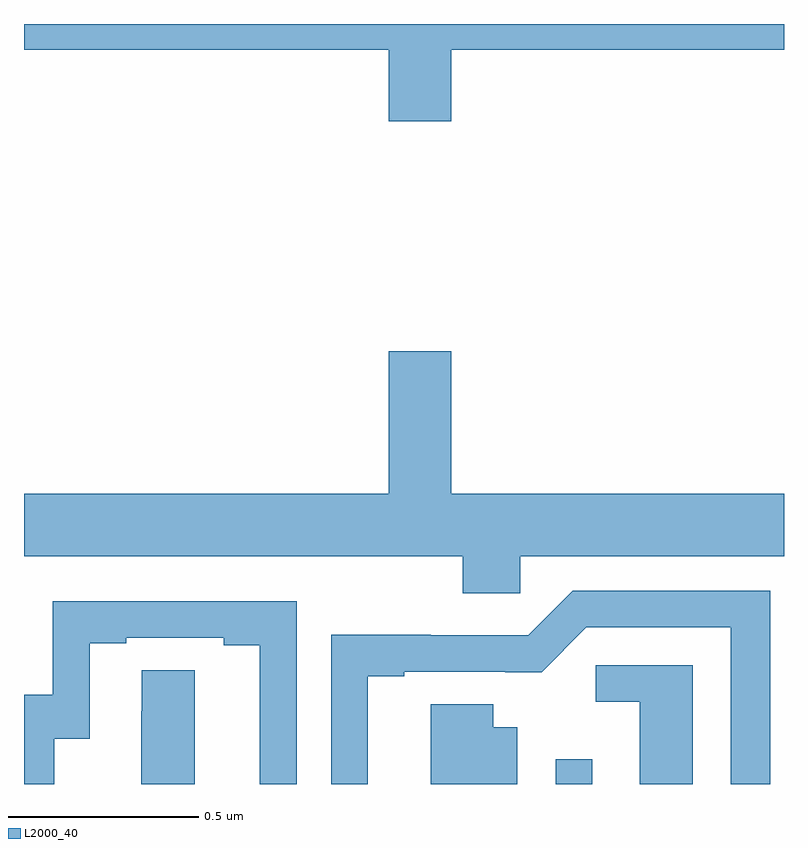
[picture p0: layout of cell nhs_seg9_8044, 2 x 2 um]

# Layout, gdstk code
import gdstk
lib = gdstk.Library(unit=1e-6, precision=1e-09)
def R(c, l, rs):  # rectangles x0, y0, x1, y1
    for r in rs: c.add(gdstk.rectangle(r[:2], r[2:], *l))
def P(c, l, *ps):  # polygons
    for p in ps: c.add(gdstk.Polygon(p, *l))
L2000_40 = (2000, 40)

nhs_seg9_8044 = lib.new_cell('nhs_seg9_8044')
R(nhs_seg9_8044, L2000_40, [(213.399,1182.5,213.495,1182.565)])
P(nhs_seg9_8044, L2000_40, [(213.124,1184.432),(214,1184.432),(214,1184.5),(212,1184.5),(212,1184.432),(212.96,1184.432),(212.96,1184.244),(213.124,1184.244)],
  [(213.306,1183.1),(214,1183.1),(214,1183.264),(213.124,1183.264),(213.124,1183.639),(212.96,1183.639),(212.96,1183.264),(212,1183.264),(212,1183.1),(213.155,1183.1),(213.155,1183.002),(213.306,1183.002)],
  [(212.905,1182.783),(213.001,1182.783),(213.001,1182.795),(213.266,1182.795),(213.266,1182.794),(213.362,1182.794),(213.48,1182.912),(213.86,1182.912),(213.86,1182.5),(213.964,1182.5),(213.964,1183.008),(213.444,1183.008),(213.327,1182.891),(213.071,1182.891),(213.071,1182.893),(212.808,1182.893),(212.808,1182.5),(212.905,1182.5)],
  [(212.079,1182.619),(212.173,1182.619),(212.173,1182.87),(212.269,1182.87),(212.269,1182.885),(212.525,1182.885),(212.525,1182.865),(212.621,1182.865),(212.621,1182.5),(212.718,1182.5),(212.718,1182.981),(212.076,1182.981),(212.076,1182.735),(212,1182.735),(212,1182.5),(212.079,1182.5)],
  [(213.76,1182.813),(213.504,1182.813),(213.504,1182.716),(213.62,1182.716),(213.62,1182.5),(213.76,1182.5)],
  [(212.449,1182.8),(212.31,1182.8),(212.31,1182.692),(212.309,1182.692),(212.309,1182.5),(212.449,1182.5)],
  [(213.298,1182.649),(213.235,1182.649),(213.235,1182.71),(213.071,1182.71),(213.071,1182.5),(213.298,1182.5)])

lib.write_gds('nhs_seg9_8044.gds')
